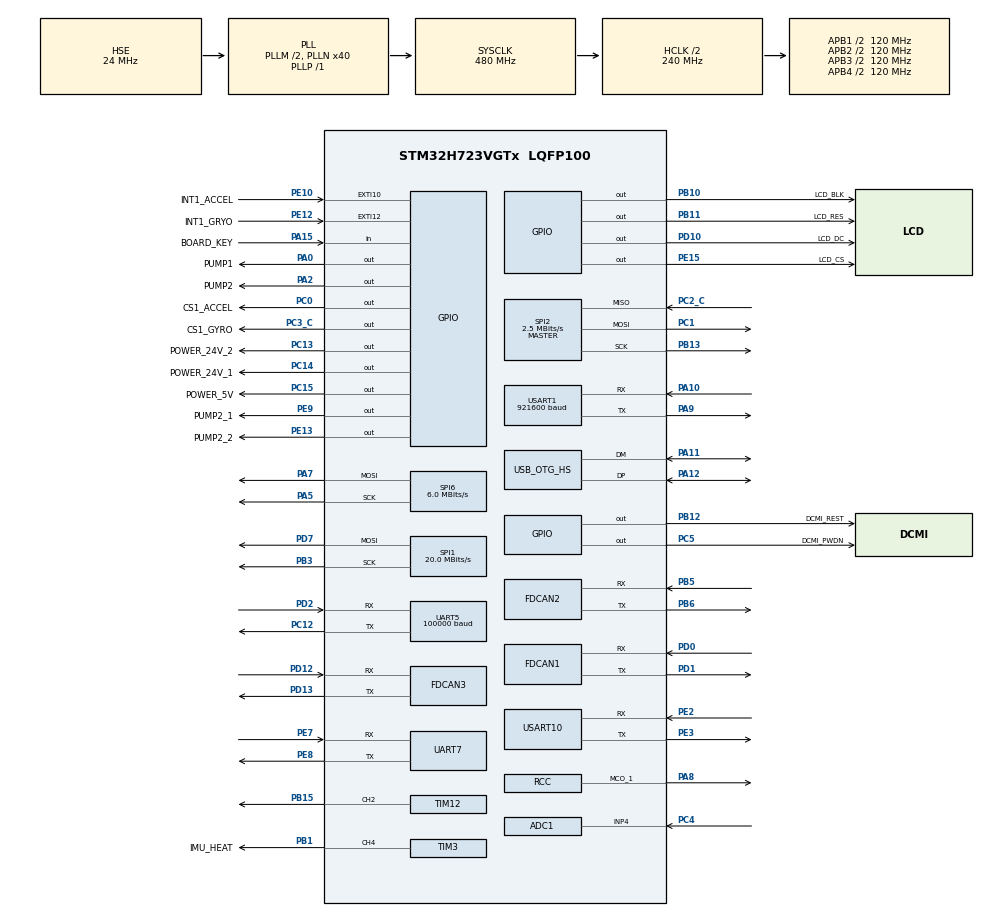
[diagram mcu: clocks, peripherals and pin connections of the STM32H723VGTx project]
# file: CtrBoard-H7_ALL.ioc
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ADC1.Channel-1\#ChannelRegularConversion=ADC_CHANNEL_4
ADC1.ClockPrescaler=ADC_CLOCK_ASYNC_DIV64
ADC1.ContinuousConvMode=ENABLE
ADC1.ConversionDataManagement=ADC_CONVERSIONDATA_DMA_CIRCULAR
ADC1.EnableRegularConversion=ENABLE
ADC1.NbrOfConversionFlag=1
ADC1.OffsetNumber-1\#ChannelRegularConversion=ADC_OFFSET_NONE
ADC1.OffsetSignedSaturation-1\#ChannelRegularConversion=DISABLE
ADC1.Rank-1\#ChannelRegularConversion=1
ADC1.SamplingTime-1\#ChannelRegularConversion=ADC_SAMPLETIME_32CYCLES_5
ADC1.master=1
CORTEX_M7.BaseAddress-Cortex_Memory_Protection_Unit_Region0_Settings=0x24000000
CORTEX_M7.CPU_DCache=Disabled
CORTEX_M7.CPU_ICache=Disabled
CORTEX_M7.Enable-Cortex_Memory_Protection_Unit_Region0_Settings=MPU_REGION_ENABLE
CORTEX_M7.IsBufferable-Cortex_Memory_Protection_Unit_Region0_Settings=MPU_ACCESS_BUFFERABLE
CORTEX_M7.IsCacheable-Cortex_Memory_Protection_Unit_Region0_Settings=MPU_ACCESS_CACHEABLE
CORTEX_M7.MPU_Control=__NULL
CORTEX_M7.Size-Cortex_Memory_Protection_Unit_Region0_Settings=MPU_REGION_SIZE_512B
CORTEX_M7.TypeExtField-Cortex_Memory_Protection_Unit_Region0_Settings=MPU_TEX_LEVEL1
Dma.ADC1.6.Direction=DMA_PERIPH_TO_MEMORY
Dma.ADC1.6.EventEnable=DISABLE
Dma.ADC1.6.FIFOMode=DMA_FIFOMODE_DISABLE
Dma.ADC1.6.Instance=DMA2_Stream2
Dma.ADC1.6.MemDataAlignment=DMA_MDATAALIGN_HALFWORD
Dma.ADC1.6.MemInc=DMA_MINC_ENABLE
Dma.ADC1.6.Mode=DMA_CIRCULAR
Dma.ADC1.6.PeriphDataAlignment=DMA_PDATAALIGN_HALFWORD
Dma.ADC1.6.PeriphInc=DMA_PINC_DISABLE
Dma.ADC1.6.Polarity=HAL_DMAMUX_REQ_GEN_RISING
Dma.ADC1.6.Priority=DMA_PRIORITY_LOW
Dma.ADC1.6.RequestNumber=1
Dma.ADC1.6.SignalID=NONE
Dma.ADC1.6.SyncEnable=DISABLE
Dma.ADC1.6.SyncPolarity=HAL_DMAMUX_SYNC_NO_EVENT
Dma.ADC1.6.SyncRequestNumber=1
Dma.ADC1.6.SyncSignalID=NONE
Dma.Request0=USART1_RX
Dma.Request1=UART5_RX
Dma.Request2=USART10_RX
Dma.Request3=UART7_TX
Dma.Request4=SPI2_RX
Dma.Request5=SPI2_TX
Dma.Request6=ADC1
Dma.SPI2_RX.4.Direction=DMA_PERIPH_TO_MEMORY
Dma.SPI2_RX.4.EventEnable=DISABLE
Dma.SPI2_RX.4.FIFOMode=DMA_FIFOMODE_DISABLE
Dma.SPI2_RX.4.Instance=DMA2_Stream0
Dma.SPI2_RX.4.MemDataAlignment=DMA_MDATAALIGN_BYTE
Dma.SPI2_RX.4.MemInc=DMA_MINC_ENABLE
Dma.SPI2_RX.4.Mode=DMA_NORMAL
Dma.SPI2_RX.4.PeriphDataAlignment=DMA_PDATAALIGN_BYTE
Dma.SPI2_RX.4.PeriphInc=DMA_PINC_DISABLE
Dma.SPI2_RX.4.Polarity=HAL_DMAMUX_REQ_GEN_RISING
Dma.SPI2_RX.4.Priority=DMA_PRIORITY_VERY_HIGH
Dma.SPI2_RX.4.RequestNumber=1
Dma.SPI2_RX.4.SignalID=NONE
Dma.SPI2_RX.4.SyncEnable=DISABLE
Dma.SPI2_RX.4.SyncPolarity=HAL_DMAMUX_SYNC_NO_EVENT
Dma.SPI2_RX.4.SyncRequestNumber=1
Dma.SPI2_RX.4.SyncSignalID=NONE
Dma.SPI2_TX.5.Direction=DMA_MEMORY_TO_PERIPH
Dma.SPI2_TX.5.EventEnable=DISABLE
Dma.SPI2_TX.5.FIFOMode=DMA_FIFOMODE_DISABLE
Dma.SPI2_TX.5.Instance=DMA2_Stream1
Dma.SPI2_TX.5.MemDataAlignment=DMA_MDATAALIGN_BYTE
Dma.SPI2_TX.5.MemInc=DMA_MINC_ENABLE
Dma.SPI2_TX.5.Mode=DMA_NORMAL
Dma.SPI2_TX.5.PeriphDataAlignment=DMA_PDATAALIGN_BYTE
Dma.SPI2_TX.5.PeriphInc=DMA_PINC_DISABLE
Dma.SPI2_TX.5.Polarity=HAL_DMAMUX_REQ_GEN_RISING
Dma.SPI2_TX.5.Priority=DMA_PRIORITY_HIGH
Dma.SPI2_TX.5.RequestNumber=1
Dma.SPI2_TX.5.SignalID=NONE
Dma.SPI2_TX.5.SyncEnable=DISABLE
Dma.SPI2_TX.5.SyncPolarity=HAL_DMAMUX_SYNC_NO_EVENT
Dma.SPI2_TX.5.SyncRequestNumber=1
Dma.SPI2_TX.5.SyncSignalID=NONE
Dma.UART5_RX.1.Direction=DMA_PERIPH_TO_MEMORY
Dma.UART5_RX.1.EventEnable=DISABLE
Dma.UART5_RX.1.FIFOMode=DMA_FIFOMODE_DISABLE
Dma.UART5_RX.1.Instance=DMA1_Stream1
Dma.UART5_RX.1.MemDataAlignment=DMA_MDATAALIGN_BYTE
Dma.UART5_RX.1.MemInc=DMA_MINC_ENABLE
Dma.UART5_RX.1.Mode=DMA_NORMAL
Dma.UART5_RX.1.PeriphDataAlignment=DMA_PDATAALIGN_BYTE
Dma.UART5_RX.1.PeriphInc=DMA_PINC_DISABLE
Dma.UART5_RX.1.Polarity=HAL_DMAMUX_REQ_GEN_RISING
Dma.UART5_RX.1.Priority=DMA_PRIORITY_VERY_HIGH
Dma.UART5_RX.1.RequestNumber=1
Dma.UART5_RX.1.SignalID=NONE
Dma.UART5_RX.1.SyncEnable=DISABLE
Dma.UART5_RX.1.SyncPolarity=HAL_DMAMUX_SYNC_NO_EVENT
Dma.UART5_RX.1.SyncRequestNumber=1
Dma.UART5_RX.1.SyncSignalID=NONE
Dma.UART7_TX.3.Direction=DMA_MEMORY_TO_PERIPH
Dma.UART7_TX.3.EventEnable=DISABLE
Dma.UART7_TX.3.FIFOMode=DMA_FIFOMODE_DISABLE
Dma.UART7_TX.3.Instance=DMA1_Stream3
Dma.UART7_TX.3.MemDataAlignment=DMA_MDATAALIGN_BYTE
Dma.UART7_TX.3.MemInc=DMA_MINC_ENABLE
Dma.UART7_TX.3.Mode=DMA_NORMAL
Dma.UART7_TX.3.PeriphDataAlignment=DMA_PDATAALIGN_BYTE
Dma.UART7_TX.3.PeriphInc=DMA_PINC_DISABLE
Dma.UART7_TX.3.Polarity=HAL_DMAMUX_REQ_GEN_RISING
Dma.UART7_TX.3.Priority=DMA_PRIORITY_MEDIUM
Dma.UART7_TX.3.RequestNumber=1
Dma.UART7_TX.3.SignalID=NONE
Dma.UART7_TX.3.SyncEnable=DISABLE
Dma.UART7_TX.3.SyncPolarity=HAL_DMAMUX_SYNC_NO_EVENT
Dma.UART7_TX.3.SyncRequestNumber=1
Dma.UART7_TX.3.SyncSignalID=NONE
Dma.USART10_RX.2.Direction=DMA_PERIPH_TO_MEMORY
Dma.USART10_RX.2.EventEnable=DISABLE
Dma.USART10_RX.2.FIFOMode=DMA_FIFOMODE_DISABLE
Dma.USART10_RX.2.Instance=DMA1_Stream2
Dma.USART10_RX.2.MemDataAlignment=DMA_MDATAALIGN_BYTE
Dma.USART10_RX.2.MemInc=DMA_MINC_ENABLE
Dma.USART10_RX.2.Mode=DMA_NORMAL
Dma.USART10_RX.2.PeriphDataAlignment=DMA_PDATAALIGN_BYTE
Dma.USART10_RX.2.PeriphInc=DMA_PINC_DISABLE
Dma.USART10_RX.2.Polarity=HAL_DMAMUX_REQ_GEN_RISING
Dma.USART10_RX.2.Priority=DMA_PRIORITY_HIGH
Dma.USART10_RX.2.RequestNumber=1
Dma.USART10_RX.2.SignalID=NONE
Dma.USART10_RX.2.SyncEnable=DISABLE
Dma.USART10_RX.2.SyncPolarity=HAL_DMAMUX_SYNC_NO_EVENT
Dma.USART10_RX.2.SyncRequestNumber=1
Dma.USART10_RX.2.SyncSignalID=NONE
Dma.USART1_RX.0.Direction=DMA_PERIPH_TO_MEMORY
Dma.USART1_RX.0.EventEnable=DISABLE
Dma.USART1_RX.0.FIFOMode=DMA_FIFOMODE_DISABLE
Dma.USART1_RX.0.Instance=DMA1_Stream0
Dma.USART1_RX.0.MemDataAlignment=DMA_MDATAALIGN_BYTE
Dma.USART1_RX.0.MemInc=DMA_MINC_ENABLE
Dma.USART1_RX.0.Mode=DMA_NORMAL
Dma.USART1_RX.0.PeriphDataAlignment=DMA_PDATAALIGN_BYTE
Dma.USART1_RX.0.PeriphInc=DMA_PINC_DISABLE
Dma.USART1_RX.0.Polarity=HAL_DMAMUX_REQ_GEN_RISING
Dma.USART1_RX.0.Priority=DMA_PRIORITY_VERY_HIGH
Dma.USART1_RX.0.RequestNumber=1
Dma.USART1_RX.0.SignalID=NONE
Dma.USART1_RX.0.SyncEnable=DISABLE
Dma.USART1_RX.0.SyncPolarity=HAL_DMAMUX_SYNC_NO_EVENT
Dma.USART1_RX.0.SyncRequestNumber=1
Dma.USART1_RX.0.SyncSignalID=NONE
FDCAN1.AutoRetransmission=ENABLE
FDCAN1.CalculateBaudRateNominal=1000000
FDCAN1.CalculateTimeBitNominal=1000
FDCAN1.CalculateTimeQuantumNominal=12.5
FDCAN1.DataSyncJumpWidth=2
FDCAN1.DataTimeSeg1=13
FDCAN1.DataTimeSeg2=2
FDCAN1.ExtFiltersNbr=4
FDCAN1.FrameFormat=FDCAN_FRAME_FD_BRS
FDCAN1.NominalPrescaler=1
FDCAN1.NominalSyncJumpWidth=20
FDCAN1.NominalTimeSeg1=59
FDCAN1.NominalTimeSeg2=20
FDCAN1.ProtocolException=ENABLE
FDCAN1.RxBuffersNbr=2
FDCAN1.RxFifo0ElmtsNbr=10
FDCAN1.RxFifo1ElmtsNbr=10
FDCAN1.StdFiltersNbr=4
FDCAN1.TxBuffersNbr=10
FDCAN1.TxEventsNbr=10
FDCAN1.TxFifoQueueElmtsNbr=10
FDCAN2.AutoRetransmission=ENABLE
FDCAN2.CalculateBaudRateNominal=1000000
FDCAN2.CalculateTimeBitNominal=1000
FDCAN2.CalculateTimeQuantumNominal=12.5
FDCAN2.DataSyncJumpWidth=2
FDCAN2.DataTimeSeg1=13
FDCAN2.DataTimeSeg2=2
FDCAN2.ExtFiltersNbr=4
FDCAN2.FrameFormat=FDCAN_FRAME_FD_BRS
FDCAN2.NominalPrescaler=1
FDCAN2.NominalSyncJumpWidth=20
FDCAN2.NominalTimeSeg1=59
FDCAN2.NominalTimeSeg2=20
FDCAN2.ProtocolException=ENABLE
FDCAN2.RxBuffersNbr=2
FDCAN2.RxFifo0ElmtsNbr=10
FDCAN2.RxFifo1ElmtsNbr=10
FDCAN2.StdFiltersNbr=4
FDCAN2.TxBuffersNbr=10
FDCAN2.TxEventsNbr=10
FDCAN2.TxFifoQueueElmtsNbr=10
FDCAN3.AutoRetransmission=ENABLE
FDCAN3.CalculateBaudRateNominal=1000000
FDCAN3.CalculateTimeBitNominal=1000
FDCAN3.CalculateTimeQuantumNominal=12.5
FDCAN3.DataSyncJumpWidth=2
FDCAN3.DataTimeSeg1=13
FDCAN3.DataTimeSeg2=2
FDCAN3.ExtFiltersNbr=4
FDCAN3.FrameFormat=FDCAN_FRAME_FD_BRS
FDCAN3.MessageRAMOffset=0
FDCAN3.NominalPrescaler=1
FDCAN3.NominalSyncJumpWidth=20
FDCAN3.NominalTimeSeg1=59
FDCAN3.NominalTimeSeg2=20
FDCAN3.ProtocolException=ENABLE
FDCAN3.RxBuffersNbr=2
FDCAN3.RxFifo0ElmtsNbr=10
FDCAN3.RxFifo1ElmtsNbr=10
FDCAN3.StdFiltersNbr=4
FDCAN3.TxBuffersNbr=10
FDCAN3.TxEventsNbr=10
FDCAN3.TxFifoQueueElmtsNbr=10
FREERTOS.INCLUDE_eTaskGetState=1
FREERTOS.INCLUDE_uxTaskGetStackHighWaterMark=1
FREERTOS.INCLUDE_vTaskDelayUntil=1
FREERTOS.INCLUDE_xQueueGetMutexHolder=1
FREERTOS.INCLUDE_xTaskGetCurrentTaskHandle=1
FREERTOS.INCLUDE_xTimerPendFunctionCall=1
FREERTOS.Tasks01=AlgorithmTask,2,2048,AlgorithmTask_Entry,As weak,NULL,Dynamic,NULL,NULL;ChassisTask,2,2048,ChassisTask_Entry,As weak,NULL,Dynamic,NULL,NULL;CmdTask,2,2048,CmdTask_Entry,As weak,NULL,Dynamic,NULL,NULL;DMmotorTask,2,2048,DMmotorTask_Entry,As weak,NULL,Dynamic,NULL,NULL;RefereeTask,2,2048,RefereeTask_Entry,As weak,NULL,Dynamic,NULL,NULL;TranmissionTask,2,2048,TransmissionTask_Entry,As weak,NULL,Dynamic,NULL,NULL;UsartTask,2,2048,UsartTask_Entry,As weak,NULL,Dynamic,NULL,NULL;InsTask,3,2048,InsTask_Entry,As weak,NULL,Dynamic,NULL,NULL;DJmotorTask,2,1024,DJmotorTask_Entry,As weak,NULL,Dynamic,NULL,NULL
FREERTOS.configENABLE_FPU=1
FREERTOS.configTOTAL_HEAP_SIZE=200000
FREERTOS.configUSE_COUNTING_SEMAPHORES=1
FREERTOS.configUSE_RECURSIVE_MUTEXES=1
FREERTOS.configUSE_TIMERS=1
FREERTOS.configUSE_TRACE_FACILITY=1
Mcu.Family=STM32H7
Mcu.Name=STM32H723VGTx
Mcu.Package=LQFP100
NVIC.DMA1_Stream0_IRQn=true\:5\:0\:false\:false\:true\:true\:false\:true\:true
NVIC.DMA1_Stream1_IRQn=true\:5\:0\:false\:false\:true\:true\:false\:true\:true
NVIC.DMA1_Stream2_IRQn=true\:5\:0\:false\:false\:true\:true\:false\:true\:true
NVIC.DMA1_Stream3_IRQn=true\:5\:0\:false\:false\:true\:true\:false\:true\:true
NVIC.DMA2_Stream0_IRQn=true\:5\:0\:false\:false\:true\:false\:false\:true\:true
NVIC.DMA2_Stream1_IRQn=true\:5\:0\:false\:false\:true\:false\:false\:true\:true
NVIC.DMA2_Stream2_IRQn=true\:5\:0\:false\:false\:true\:false\:false\:true\:true
NVIC.FDCAN1_IT0_IRQn=true\:5\:0\:false\:false\:true\:true\:true\:true\:true
NVIC.FDCAN1_IT1_IRQn=true\:5\:0\:false\:false\:true\:true\:true\:true\:true
NVIC.FDCAN2_IT0_IRQn=true\:5\:0\:false\:false\:true\:true\:true\:true\:true
NVIC.FDCAN2_IT1_IRQn=true\:5\:0\:false\:false\:true\:true\:true\:true\:true
NVIC.FDCAN3_IT0_IRQn=true\:5\:0\:false\:false\:true\:true\:true\:true\:true
NVIC.FDCAN3_IT1_IRQn=true\:5\:0\:false\:false\:true\:true\:true\:true\:true
NVIC.FDCAN_CAL_IRQn=true\:5\:0\:false\:false\:true\:true\:true\:true\:true
NVIC.OTG_HS_IRQn=true\:5\:0\:false\:false\:true\:true\:true\:true\:true
NVIC.PriorityGroup=NVIC_PRIORITYGROUP_4
NVIC.SPI2_IRQn=true\:5\:0\:false\:false\:true\:true\:false\:true\:true
NVIC.TIM23_IRQn=true\:15\:0\:false\:false\:true\:false\:false\:true\:true
NVIC.TimeBase=TIM23_IRQn
NVIC.TimeBaseIP=TIM23
NVIC.UART5_IRQn=true\:5\:0\:false\:false\:true\:true\:true\:true\:true
NVIC.UART7_IRQn=true\:5\:0\:false\:false\:true\:true\:true\:true\:true
NVIC.USART10_IRQn=true\:5\:0\:false\:false\:true\:true\:true\:true\:true
NVIC.USART1_IRQn=true\:5\:0\:false\:false\:true\:true\:true\:true\:true
PA0.GPIO_Label=PUMP1
PA0.Signal=GPIO_Output
PA1.Signal=OCTOSPIM_P1_IO3
PA10.GPIO_Speed=GPIO_SPEED_FREQ_VERY_HIGH
PA10.Mode=Asynchronous
PA10.Signal=USART1_RX
PA11.Mode=Device_Only_FS
PA11.Signal=USB_OTG_HS_DM
PA12.Mode=Device_Only_FS
PA12.Signal=USB_OTG_HS_DP
PA13(JTMS/SWDIO).Mode=Serial_Wire
PA13(JTMS/SWDIO).Signal=DEBUG_JTMS-SWDIO
PA14(JTCK/SWCLK).Mode=Serial_Wire
PA14(JTCK/SWCLK).Signal=DEBUG_JTCK-SWCLK
PA15(JTDI).GPIO_Label=BOARD_KEY
PA15(JTDI).Signal=GPIO_Input
PA2.GPIO_Label=PUMP2
PA2.Signal=GPIO_Output
PA3.Signal=OCTOSPIM_P1_IO2
PA5.GPIO_Speed=GPIO_SPEED_FREQ_HIGH
PA5.Mode=TX_Only_Simplex_Unidirect_Master
PA5.Signal=SPI6_SCK
PA7.GPIO_Speed=GPIO_SPEED_FREQ_HIGH
PA7.Mode=TX_Only_Simplex_Unidirect_Master
PA7.Signal=SPI6_MOSI
PA8.Mode=Clock-out-1
PA8.Signal=RCC_MCO_1
PA9.GPIO_Speed=GPIO_SPEED_FREQ_VERY_HIGH
PA9.Mode=Asynchronous
PA9.Signal=USART1_TX
PB0.Signal=OCTOSPIM_P1_IO1
PB1.GPIO_Label=IMU_HEAT
PB1.GPIO_PuPd=GPIO_PULLUP
PB1.GPIO_Speed=GPIO_SPEED_FREQ_VERY_HIGH
PB1.Signal=S_TIM3_CH4
PB10.GPIO_Label=LCD_BLK
PB10.GPIO_Speed=GPIO_SPEED_FREQ_HIGH
PB10.Signal=GPIO_Output
PB11.GPIO_Label=LCD_RES
PB11.GPIO_Speed=GPIO_SPEED_FREQ_HIGH
PB11.Signal=GPIO_Output
PB12.GPIO_Label=DCMI_REST
PB12.GPIO_PuPd=GPIO_PULLUP
PB12.GPIO_Speed=GPIO_SPEED_FREQ_VERY_HIGH
PB12.PinState=GPIO_PIN_SET
PB12.Signal=GPIO_Output
PB13.GPIO_Speed=GPIO_SPEED_FREQ_VERY_HIGH
PB13.Mode=Full_Duplex_Master
PB13.Signal=SPI2_SCK
PB15.Signal=S_TIM12_CH2
PB2.Signal=OCTOSPIM_P1_CLK
PB3(JTDO/TRACESWO).GPIO_Speed=GPIO_SPEED_FREQ_HIGH
PB3(JTDO/TRACESWO).Mode=TX_Only_Simplex_Unidirect_Master
PB3(JTDO/TRACESWO).Signal=SPI1_SCK
PB5.GPIO_Speed=GPIO_SPEED_FREQ_VERY_HIGH
PB5.Mode=FDCAN_Activate
PB5.Signal=FDCAN2_RX
PB6.GPIO_FM6=__NULL
PB6.GPIO_Speed=GPIO_SPEED_FREQ_VERY_HIGH
PB6.Mode=FDCAN_Activate
PB6.Signal=FDCAN2_TX
PC0.GPIO_Label=CS1_ACCEL
PC0.GPIO_PuPd=GPIO_PULLUP
PC0.GPIO_Speed=GPIO_SPEED_FREQ_VERY_HIGH
PC0.PinState=GPIO_PIN_SET
PC0.Signal=GPIO_Output
PC1.GPIO_Speed=GPIO_SPEED_FREQ_VERY_HIGH
PC1.Mode=Full_Duplex_Master
PC1.Signal=SPI2_MOSI
PC12.GPIO_Speed=GPIO_SPEED_FREQ_VERY_HIGH
PC12.Mode=Asynchronous
PC12.Signal=UART5_TX
PC13.GPIO_Label=POWER_24V_2
PC13.PinState=GPIO_PIN_SET
PC13.Signal=GPIO_Output
PC14-OSC32_IN.GPIO_Label=POWER_24V_1
PC14-OSC32_IN.PinState=GPIO_PIN_SET
PC14-OSC32_IN.Signal=GPIO_Output
PC15-OSC32_OUT.GPIO_Label=POWER_5V
PC15-OSC32_OUT.PinState=GPIO_PIN_SET
PC15-OSC32_OUT.Signal=GPIO_Output
PC2_C.GPIO_Speed=GPIO_SPEED_FREQ_VERY_HIGH
PC2_C.Mode=Full_Duplex_Master
PC2_C.Signal=SPI2_MISO
PC3_C.GPIO_Label=CS1_GYRO
PC3_C.GPIO_PuPd=GPIO_PULLUP
PC3_C.GPIO_Speed=GPIO_SPEED_FREQ_VERY_HIGH
PC3_C.PinState=GPIO_PIN_SET
PC3_C.Signal=GPIO_Output
PC4.Signal=ADCx_INP4
PC5.GPIO_Label=DCMI_PWDN
PC5.GPIO_PuPd=GPIO_NOPULL
PC5.GPIO_Speed=GPIO_SPEED_FREQ_VERY_HIGH
PC5.PinState=GPIO_PIN_SET
PC5.Signal=GPIO_Output
PD0.GPIO_Speed=GPIO_SPEED_FREQ_VERY_HIGH
PD0.Mode=FDCAN_Activate
PD0.Signal=FDCAN1_RX
PD1.GPIO_Speed=GPIO_SPEED_FREQ_VERY_HIGH
PD1.Mode=FDCAN_Activate
PD1.Signal=FDCAN1_TX
PD10.GPIO_Label=LCD_DC
PD10.GPIO_Speed=GPIO_SPEED_FREQ_HIGH
PD10.Signal=GPIO_Output
PD11.Signal=OCTOSPIM_P1_IO0
PD12.GPIO_Speed=GPIO_SPEED_FREQ_VERY_HIGH
PD12.Mode=FDCAN_Activate
PD12.Signal=FDCAN3_RX
PD13.GPIO_Speed=GPIO_SPEED_FREQ_VERY_HIGH
PD13.Mode=FDCAN_Activate
PD13.Signal=FDCAN3_TX
PD2.GPIO_Speed=GPIO_SPEED_FREQ_VERY_HIGH
PD2.Mode=Asynchronous
PD2.Signal=UART5_RX
PD4.Signal=USART2_DE
PD5.Signal=USART2_TX
PD6.Signal=USART2_RX
PD7.GPIO_Speed=GPIO_SPEED_FREQ_HIGH
PD7.Mode=TX_Only_Simplex_Unidirect_Master
PD7.Signal=SPI1_MOSI
PE10.GPIO_Label=INT1_ACCEL
PE10.GPIO_PuPd=GPIO_PULLUP
PE10.Signal=GPXTI10
PE11.Signal=OCTOSPIM_P1_NCS
PE12.GPIO_Label=INT1_GRYO
PE12.GPIO_PuPd=GPIO_PULLUP
PE12.Signal=GPXTI12
PE13.GPIO_Label=PUMP2_2
PE13.Signal=GPIO_Output
PE15.GPIO_Label=LCD_CS
PE15.GPIO_Speed=GPIO_SPEED_FREQ_HIGH
PE15.Signal=GPIO_Output
PE2.GPIO_Speed=GPIO_SPEED_FREQ_VERY_HIGH
PE2.Mode=Asynchronous
PE2.Signal=USART10_RX
PE3.GPIO_Speed=GPIO_SPEED_FREQ_VERY_HIGH
PE3.Mode=Asynchronous
PE3.Signal=USART10_TX
PE7.GPIO_Speed=GPIO_SPEED_FREQ_VERY_HIGH
PE7.Mode=Asynchronous
PE7.Signal=UART7_RX
PE8.GPIO_Speed=GPIO_SPEED_FREQ_VERY_HIGH
PE8.Mode=Asynchronous
PE8.Signal=UART7_TX
PE9.GPIO_Label=PUMP2_1
PE9.Signal=GPIO_Output
PH0-OSC_IN.Mode=HSE-External-Oscillator
PH0-OSC_IN.Signal=RCC_OSC_IN
PH1-OSC_OUT.Mode=HSE-External-Oscillator
PH1-OSC_OUT.Signal=RCC_OSC_OUT
ProjectManager.HeapSize=0x2000
ProjectManager.StackSize=0x2000
ProjectManager.TargetToolchain=STM32CubeIDE
RCC.ADCFreq_Value=96000000
RCC.APB1Freq_Value=120000000
RCC.APB2Freq_Value=120000000
RCC.APB3Freq_Value=120000000
RCC.APB4Freq_Value=120000000
RCC.CortexFreq_Value=480000000
RCC.D1PPRE=RCC_APB3_DIV2
RCC.D2PPRE1=RCC_APB1_DIV2
RCC.D2PPRE2=RCC_APB2_DIV2
RCC.D3PPRE=RCC_APB4_DIV2
RCC.DIVM1=2
RCC.DIVM2=2
RCC.DIVN1=40
RCC.DIVN2=16
RCC.DIVP1=1
RCC.DIVQ1=6
RCC.EnbaleCSS=false
RCC.HCLKFreq_Value=240000000
RCC.HPRE=RCC_HCLK_DIV2
RCC.HSE_VALUE=24000000
RCC.PLL2FRACN=0
RCC.PLL2_VCI_Range-AdvancedSettings=RCC_PLL2VCIRANGE_0
RCC.PLL2_VCO_SEL-AdvancedSettings=RCC_PLL2VCOMEDIUM
RCC.PLL3FRACN=0
RCC.PLL3_VCO_SEL-AdvancedSettings=RCC_PLL3VCOMEDIUM
RCC.PLLFRACN=0
RCC.PLLSourceVirtual=RCC_PLLSOURCE_HSE
RCC.SPI6CLockSelection=RCC_SPI6CLKSOURCE_HSE
RCC.SYSCLKFreq_VALUE=480000000
RCC.SYSCLKSource=RCC_SYSCLKSOURCE_PLLCLK
RCC.USBCLockSelection=RCC_USBCLKSOURCE_HSI48
RCC.USBFreq_Value=48000000
SH.ADCx_INP4.0=ADC1_INP4,IN4-Single-Ended
SH.S_TIM12_CH2.0=TIM12_CH2,PWM Generation2 CH2
SH.S_TIM3_CH4.0=TIM3_CH4,PWM Generation4 CH4
SPI1.BaudRatePrescaler=SPI_BAUDRATEPRESCALER_4
SPI1.CLKPolarity=SPI_POLARITY_HIGH
SPI1.CalculateBaudRate=20.0 MBits/s
SPI1.DataSize=SPI_DATASIZE_8BIT
SPI1.Direction=SPI_DIRECTION_2LINES_TXONLY
SPI1.Mode=SPI_MODE_MASTER
SPI1.VirtualType=VM_MASTER
SPI2.BaudRatePrescaler=SPI_BAUDRATEPRESCALER_32
SPI2.CLKPhase=SPI_PHASE_2EDGE
SPI2.CLKPolarity=SPI_POLARITY_HIGH
SPI2.CalculateBaudRate=2.5 MBits/s
SPI2.DataSize=SPI_DATASIZE_8BIT
SPI2.Direction=SPI_DIRECTION_2LINES
SPI2.Mode=SPI_MODE_MASTER
SPI2.VirtualType=VM_MASTER
SPI6.BaudRatePrescaler=SPI_BAUDRATEPRESCALER_4
SPI6.CLKPhase=SPI_PHASE_2EDGE
SPI6.CalculateBaudRate=6.0 MBits/s
SPI6.DataSize=SPI_DATASIZE_8BIT
SPI6.Direction=SPI_DIRECTION_2LINES_TXONLY
SPI6.FifoThreshold=SPI_FIFO_THRESHOLD_02DATA
SPI6.Mode=SPI_MODE_MASTER
SPI6.VirtualType=VM_MASTER
STMicroelectronics.X-CUBE-ALGOBUILD.1.4.0.LibraryCcDSPOoLibraryJjDSPOoLibrary=true
TIM12.Channel-PWM\ Generation2\ CH2=TIM_CHANNEL_2
TIM12.Prescaler=240-1
TIM3.AutoReloadPreload=TIM_AUTORELOAD_PRELOAD_DISABLE
TIM3.Channel-PWM\ Generation4\ CH4=TIM_CHANNEL_4
TIM3.Period=2000-1
TIM3.Prescaler=240-1
UART5.BaudRate=100000
UART5.Parity=PARITY_EVEN
UART5.StopBits=UART_STOPBITS_2
UART5.WordLength=WORDLENGTH_9B
USART1.BaudRate=921600
USART1.VirtualMode-Asynchronous=VM_ASYNC
USART10.VirtualMode=VM_ASYNC
USB_DEVICE.CLASS_NAME_HS=CDC
USB_DEVICE.VirtualMode=Cdc
USB_DEVICE.VirtualModeHS=Cdc_HS
USB_OTG_HS.VirtualMode-Device_Only_FS=Device_Only_FS
VP_FREERTOS_VS_CMSIS_V1.Mode=CMSIS_V1
VP_MEMORYMAP_VS_MEMORYMAP.Mode=CurAppReg
VP_STMicroelectronics.X-CUBE-ALGOBUILD_VS_DSPOoLibraryJjLibrary_1.4.0_1.4.0.Mode=DSPOoLibraryJjLibrary
VP_SYS_VS_tim23.Mode=TIM23
VP_TIM12_VS_ClockSourceINT.Mode=Internal
VP_TIM3_VS_ClockSourceINT.Mode=Internal
VP_USB_DEVICE_VS_USB_DEVICE_CDC_HS.Mode=CDC_HS
board=custom

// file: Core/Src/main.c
/* USER CODE BEGIN Header */
/**
  ******************************************************************************
  * @file           : main.c
  * @brief          : Main program body
  ******************************************************************************
  * @attention
  *
  * Copyright (c) 2025 STMicroelectronics.
  * All rights reserved.
  *
  * This software is licensed under terms that can be found in the LICENSE file
  * in the root directory of this software component.
  * If no LICENSE file comes with this software, it is provided AS-IS.
  *
  ******************************************************************************
  */
/* USER CODE END Header */
#include "main.h"
#include "cmsis_os.h"
#include "adc.h"
#include "dma.h"
#include "fdcan.h"
#include "memorymap.h"
#include "spi.h"
#include "tim.h"
#include "usart.h"
#include "usb_device.h"
#include "gpio.h"

/* USER CODE BEGIN Includes */
#include "drv_dwt.h"
#include "bsp_fdcan.h"
#include "dm_motor_ctrl.h"
#include "BMI088driver.h"
#include "robot.h"
/* USER CODE END Includes */

/* USER CODE BEGIN PTD */

QueueHandle_t xKalmanOneQueue = NULL; // 队列句柄
QueueHandle_t xControlQueue = NULL; // 队列句柄
/* USER CODE END PTD */

/* USER CODE BEGIN PD */
#define CONTROL_QUEUE_LENGTH 12    // 队列长度，可根据需要调整
#define CONTROL_QUEUE_ITEM_SIZE sizeof(float)*6 // 每个队列元素占用的字节数

#define KalmanOne_QUEUE_LENGTH 14    // 队列长度，可根据需要调整
#define KalmanOne_QUEUE_ITEM_SIZE sizeof(float)*7 // 每个队列元素占用的字节数
/* USER CODE END PD */

void SystemClock_Config(void);
void MX_FREERTOS_Init(void);

int main(void)
{

  /* MCU Configuration--------------------------------------------------------*/

  /* Reset of all peripherals, Initializes the Flash interface and the Systick. */
  HAL_Init();

  /* Configure the system clock */
  SystemClock_Config();

  /* Initialize all configured peripherals */
  MX_GPIO_Init();
  MX_DMA_Init();
  MX_FDCAN1_Init();
  MX_FDCAN2_Init();
  MX_FDCAN3_Init();
  MX_USART1_UART_Init();
  MX_UART5_Init();
  MX_USART10_UART_Init();
  MX_UART7_Init();
  MX_SPI2_Init();
  MX_TIM3_Init();
  MX_SPI6_Init();
  MX_TIM12_Init();
  MX_ADC1_Init();
  MX_SPI1_Init();
  /* USER CODE BEGIN 2 */
    MX_USB_DEVICE_Init();
    dwt_init();

    BMI088_init(&hspi2);  // 陀螺仪已经校准
    // 达妙4310驱动设置
    power(1);
    HAL_GPIO_WritePin(GPIOC, GPIO_PIN_15, GPIO_PIN_SET);
    bsp_fdcan_set_baud(&hfdcan1, CAN_CLASS, CAN_BR_1M);
    bsp_fdcan_set_baud(&hfdcan2, CAN_CLASS, CAN_BR_1M);
    bsp_fdcan_set_baud(&hfdcan3, CAN_CLASS, CAN_BR_1M);
////	bsp_fdcan_set_baud(&hfdcan1, CAN_FD_BRS, CAN_BR_1M);
    bsp_can_init();
    dm_motor_init();

    robot_init();

    // 创建队列
    xKalmanOneQueue = xQueueCreate(KalmanOne_QUEUE_LENGTH, KalmanOne_QUEUE_ITEM_SIZE);
    if (xKalmanOneQueue == NULL) {
        // 队列创建失败，进入错误处理
        Error_Handler();
    }

    xControlQueue = xQueueCreate(CONTROL_QUEUE_LENGTH, CONTROL_QUEUE_ITEM_SIZE);
    if (xControlQueue == NULL) {
        // 队列创建失败，进入错误处理
        Error_Handler();
    }

    HAL_GPIO_WritePin(PUMP1_GPIO_Port, PUMP1_Pin, GPIO_PIN_RESET);
    HAL_GPIO_WritePin(PUMP2_GPIO_Port, PUMP2_Pin, GPIO_PIN_RESET);
    HAL_GPIO_WritePin(PUMP2_1_GPIO_Port, PUMP2_1_Pin, GPIO_PIN_RESET);
    HAL_GPIO_WritePin(PUMP2_2_GPIO_Port, PUMP2_2_Pin, GPIO_PIN_RESET);

//    write_motor_data(motor[Motor1].id, 10, mit_mode, 0, 0, 0);
//	write_motor_data(motor[Motor1].id, 35, CAN_BR_5M, 0, 0, 0);
//    	read_motor_data(motor[Motor1].id, RID_CAN_BR);
//    dm_motor_disable(&hfdcan2, &motor[Motor1]);
//    save_motor_data(motor[Motor1].id, 10);
//    HAL_TIM_Base_Start_IT(&htim3);
//	read_all_motor_data(&motor[Motor1]);
  /* USER CODE END 2 */

  /* Call init function for freertos objects (in cmsis_os2.c) */
  MX_FREERTOS_Init();

  /* Start scheduler */
  osKernelStart();

  /* We should never get here as control is now taken by the scheduler */

  /* Infinite loop */
  while (1)
  {

  }
}

void SystemClock_Config(void)
{
  RCC_OscInitTypeDef RCC_OscInitStruct = {0};
  RCC_ClkInitTypeDef RCC_ClkInitStruct = {0};

  /** Supply configuration update enable
  */
  HAL_PWREx_ConfigSupply(PWR_LDO_SUPPLY);

  /** Configure the main internal regulator output voltage
  */
  __HAL_PWR_VOLTAGESCALING_CONFIG(PWR_REGULATOR_VOLTAGE_SCALE0);

  while(!__HAL_PWR_GET_FLAG(PWR_FLAG_VOSRDY)) {}

  /** Initializes the RCC Oscillators according to the specified parameters
  * in the RCC_OscInitTypeDef structure.
  */
  RCC_OscInitStruct.OscillatorType = RCC_OSCILLATORTYPE_HSI48|RCC_OSCILLATORTYPE_HSI
                              |RCC_OSCILLATORTYPE_HSE;
  RCC_OscInitStruct.HSEState = RCC_HSE_ON;
  RCC_OscInitStruct.HSIState = RCC_HSI_DIV1;
  RCC_OscInitStruct.HSICalibrationValue = 64;
  RCC_OscInitStruct.HSI48State = RCC_HSI48_ON;
  RCC_OscInitStruct.PLL.PLLState = RCC_PLL_ON;
  RCC_OscInitStruct.PLL.PLLSource = RCC_PLLSOURCE_HSE;
  RCC_OscInitStruct.PLL.PLLM = 2;
  RCC_OscInitStruct.PLL.PLLN = 40;
  RCC_OscInitStruct.PLL.PLLP = 1;
  RCC_OscInitStruct.PLL.PLLQ = 6;
  RCC_OscInitStruct.PLL.PLLR = 2;
  RCC_OscInitStruct.PLL.PLLRGE = RCC_PLL1VCIRANGE_3;
  RCC_OscInitStruct.PLL.PLLVCOSEL = RCC_PLL1VCOWIDE;
  RCC_OscInitStruct.PLL.PLLFRACN = 0;
  if (HAL_RCC_OscConfig(&RCC_OscInitStruct) != HAL_OK)
  {
    Error_Handler();
  }

  /** Initializes the CPU, AHB and APB buses clocks
  */
  RCC_ClkInitStruct.ClockType = RCC_CLOCKTYPE_HCLK|RCC_CLOCKTYPE_SYSCLK
                              |RCC_CLOCKTYPE_PCLK1|RCC_CLOCKTYPE_PCLK2
                              |RCC_CLOCKTYPE_D3PCLK1|RCC_CLOCKTYPE_D1PCLK1;
  RCC_ClkInitStruct.SYSCLKSource = RCC_SYSCLKSOURCE_PLLCLK;
  RCC_ClkInitStruct.SYSCLKDivider = RCC_SYSCLK_DIV1;
  RCC_ClkInitStruct.AHBCLKDivider = RCC_HCLK_DIV2;
  RCC_ClkInitStruct.APB3CLKDivider = RCC_APB3_DIV2;
  RCC_ClkInitStruct.APB1CLKDivider = RCC_APB1_DIV2;
  RCC_ClkInitStruct.APB2CLKDivider = RCC_APB2_DIV2;
  RCC_ClkInitStruct.APB4CLKDivider = RCC_APB4_DIV2;

  if (HAL_RCC_ClockConfig(&RCC_ClkInitStruct, FLASH_LATENCY_3) != HAL_OK)
  {
    Error_Handler();
  }
  HAL_RCC_MCOConfig(RCC_MCO1, RCC_MCO1SOURCE_HSI, RCC_MCODIV_1);
}

void HAL_TIM_PeriodElapsedCallback(TIM_HandleTypeDef *htim)
{
  if (htim->Instance == TIM23)
  {
    HAL_IncTick();
  }
}

void Error_Handler(void)
{
  __disable_irq();
  while (1)
  {
  }
}

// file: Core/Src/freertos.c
/* USER CODE BEGIN Header */
/**
  ******************************************************************************
  * File Name          : freertos.c
  * Description        : Code for freertos applications
  ******************************************************************************
  * @attention
  *
  * Copyright (c) 2025 STMicroelectronics.
  * All rights reserved.
  *
  * This software is licensed under terms that can be found in the LICENSE file
  * in the root directory of this software component.
  * If no LICENSE file comes with this software, it is provided AS-IS.
  *
  ******************************************************************************
  */
/* USER CODE END Header */

#include "FreeRTOS.h"
#include "task.h"
#include "main.h"
#include "cmsis_os.h"

osThreadId AlgorithmTaskHandle;
osThreadId ChassisTaskHandle;
osThreadId CmdTaskHandle;
osThreadId DMmotorTaskHandle;
osThreadId RefereeTaskHandle;
osThreadId TranmissionTaskHandle;
osThreadId UsartTaskHandle;
osThreadId InsTaskHandle;
osThreadId DJmotorTaskHandle;

void AlgorithmTask_Entry(void const * argument);
void ChassisTask_Entry(void const * argument);
void CmdTask_Entry(void const * argument);
void DMmotorTask_Entry(void const * argument);
void RefereeTask_Entry(void const * argument);
void TransmissionTask_Entry(void const * argument);
void UsartTask_Entry(void const * argument);
void InsTask_Entry(void const * argument);
void DJmotorTask_Entry(void const * argument);

extern void MX_USB_DEVICE_Init(void);
void MX_FREERTOS_Init(void); /* (MISRA C 2004 rule 8.1) */

/* GetIdleTaskMemory prototype (linked to static allocation support) */
void vApplicationGetIdleTaskMemory( StaticTask_t **ppxIdleTaskTCBBuffer, StackType_t **ppxIdleTaskStackBuffer, uint32_t *pulIdleTaskStackSize );

/* GetTimerTaskMemory prototype (linked to static allocation support) */
void vApplicationGetTimerTaskMemory( StaticTask_t **ppxTimerTaskTCBBuffer, StackType_t **ppxTimerTaskStackBuffer, uint32_t *pulTimerTaskStackSize );

/* USER CODE BEGIN GET_IDLE_TASK_MEMORY */
static StaticTask_t xIdleTaskTCBBuffer;
static StackType_t xIdleStack[configMINIMAL_STACK_SIZE];

void vApplicationGetIdleTaskMemory( StaticTask_t **ppxIdleTaskTCBBuffer, StackType_t **ppxIdleTaskStackBuffer, uint32_t *pulIdleTaskStackSize )
{
  *ppxIdleTaskTCBBuffer = &xIdleTaskTCBBuffer;
  *ppxIdleTaskStackBuffer = &xIdleStack[0];
  *pulIdleTaskStackSize = configMINIMAL_STACK_SIZE;
  /* place for user code */
}
/* USER CODE END GET_IDLE_TASK_MEMORY */

/* USER CODE BEGIN GET_TIMER_TASK_MEMORY */
static StaticTask_t xTimerTaskTCBBuffer;
static StackType_t xTimerStack[configTIMER_TASK_STACK_DEPTH];

void vApplicationGetTimerTaskMemory( StaticTask_t **ppxTimerTaskTCBBuffer, StackType_t **ppxTimerTaskStackBuffer, uint32_t *pulTimerTaskStackSize )
{
  *ppxTimerTaskTCBBuffer = &xTimerTaskTCBBuffer;
  *ppxTimerTaskStackBuffer = &xTimerStack[0];
  *pulTimerTaskStackSize = configTIMER_TASK_STACK_DEPTH;
  /* place for user code */
}
/* USER CODE END GET_TIMER_TASK_MEMORY */

void MX_FREERTOS_Init(void) {

  /* Create the thread(s) */
  /* definition and creation of AlgorithmTask */
  osThreadDef(AlgorithmTask, AlgorithmTask_Entry, osPriorityHigh, 0, 2048);
  AlgorithmTaskHandle = osThreadCreate(osThread(AlgorithmTask), NULL);

  /* definition and creation of ChassisTask */
  osThreadDef(ChassisTask, ChassisTask_Entry, osPriorityHigh, 0, 2048);
  ChassisTaskHandle = osThreadCreate(osThread(ChassisTask), NULL);

  /* definition and creation of CmdTask */
  osThreadDef(CmdTask, CmdTask_Entry, osPriorityHigh, 0, 2048);
  CmdTaskHandle = osThreadCreate(osThread(CmdTask), NULL);

  /* definition and creation of DMmotorTask */
  osThreadDef(DMmotorTask, DMmotorTask_Entry, osPriorityHigh, 0, 2048);
  DMmotorTaskHandle = osThreadCreate(osThread(DMmotorTask), NULL);

  /* definition and creation of RefereeTask */
  osThreadDef(RefereeTask, RefereeTask_Entry, osPriorityHigh, 0, 2048);
  RefereeTaskHandle = osThreadCreate(osThread(RefereeTask), NULL);

  /* definition and creation of TranmissionTask */
  osThreadDef(TranmissionTask, TransmissionTask_Entry, osPriorityHigh, 0, 2048);
  TranmissionTaskHandle = osThreadCreate(osThread(TranmissionTask), NULL);

  /* definition and creation of UsartTask */
  osThreadDef(UsartTask, UsartTask_Entry, osPriorityHigh, 0, 2048);
  UsartTaskHandle = osThreadCreate(osThread(UsartTask), NULL);

  /* definition and creation of InsTask */
  osThreadDef(InsTask, InsTask_Entry, osPriorityRealtime, 0, 2048);
  InsTaskHandle = osThreadCreate(osThread(InsTask), NULL);

  /* definition and creation of DJmotorTask */
  osThreadDef(DJmotorTask, DJmotorTask_Entry, osPriorityHigh, 0, 1024);
  DJmotorTaskHandle = osThreadCreate(osThread(DJmotorTask), NULL);

}

__weak void AlgorithmTask_Entry(void const * argument)
{
  /* init code for USB_DEVICE */
  MX_USB_DEVICE_Init();
  for(;;)
  {
    osDelay(1);
  }
}

__weak void ChassisTask_Entry(void const * argument)
{
  for(;;)
  {
    osDelay(1);
  }
}

__weak void CmdTask_Entry(void const * argument)
{
  for(;;)
  {
    osDelay(1);
  }
}

__weak void DMmotorTask_Entry(void const * argument)
{
  for(;;)
  {
    osDelay(1);
  }
}

__weak void RefereeTask_Entry(void const * argument)
{
  for(;;)
  {
    osDelay(1);
  }
}

__weak void TransmissionTask_Entry(void const * argument)
{
  for(;;)
  {
    osDelay(1);
  }
}

__weak void UsartTask_Entry(void const * argument)
{
  for(;;)
  {
    osDelay(1);
  }
}

__weak void InsTask_Entry(void const * argument)
{
  for(;;)
  {
    osDelay(1);
  }
}

__weak void DJmotorTask_Entry(void const * argument)
{
  for(;;)
  {
    osDelay(1);
  }
}
